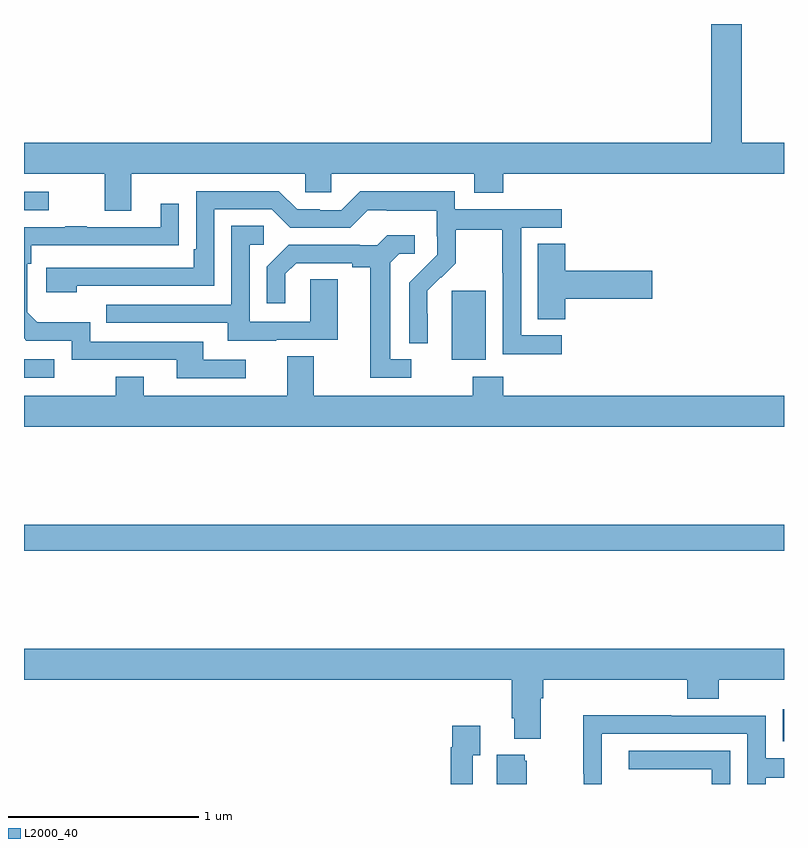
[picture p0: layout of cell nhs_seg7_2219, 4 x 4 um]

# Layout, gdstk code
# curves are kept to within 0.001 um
import gdstk
lib = gdstk.Library(unit=1e-6, precision=1e-09)
def R(c, l, rs):  # rectangles x0, y0, x1, y1
    for r in rs: c.add(gdstk.rectangle(r[:2], r[2:], *l))
def P(c, l, *ps):  # polygons
    for p in ps: c.add(gdstk.Polygon(p, *l))
L2000_40 = (2000, 40)

nhs_seg7_2219 = lib.new_cell('nhs_seg7_2219')
R(nhs_seg7_2219, L2000_40, [(258.993,1068.225,259,1068.394), (255,1069.228,259,1069.364), (255,1070.139,255.16,1070.235), (257.252,1070.234,257.431,1070.595), (255,1071.021,255.13,1071.117)])
P(nhs_seg7_2219, L2000_40, [(255.565,1071.212),(256.479,1071.212),(256.479,1071.114),(256.617,1071.114),(256.617,1071.212),(257.369,1071.212),(257.369,1071.113),(257.522,1071.113),(257.522,1071.212),(259,1071.212),(259,1071.376),(258.777,1071.376),(258.777,1072),(258.617,1072),(258.617,1071.376),(255,1071.376),(255,1071.212),(255.425,1071.212),(255.425,1071.018),(255.565,1071.018)],
  [(257.83,1070.361),(257.616,1070.361),(257.616,1070.928),(257.83,1070.928),(257.83,1071.024),(257.268,1071.024),(257.268,1071.121),(256.771,1071.121),(256.671,1071.021),(256.556,1071.021),(256.556,1071.024),(256.437,1071.024),(256.341,1071.12),(255.906,1071.12),(255.906,1070.815),(255.893,1070.815),(255.893,1070.718),(255.117,1070.718),(255.117,1070.588),(255.278,1070.588),(255.278,1070.622),(256.002,1070.622),(256.002,1071.024),(256.305,1071.024),(256.401,1070.928),(256.716,1070.928),(256.809,1071.021),(256.909,1071.021),(256.909,1071.017),(257.172,1071.017),(257.172,1070.883),(257.174,1070.883),(257.174,1070.786),(257.028,1070.638),(257.028,1070.32),(257.124,1070.32),(257.123,1070.597),(257.193,1070.667),(257.196,1070.664),(257.273,1070.741),(257.273,1070.916),(257.517,1070.916),(257.517,1070.692),(257.52,1070.692),(257.52,1070.263),(257.83,1070.263)],
  [(256.168,1070.232),(255.943,1070.232),(255.943,1070.328),(255.348,1070.328),(255.348,1070.431),(255.071,1070.431),(255.018,1070.484),(255.018,1070.738),(255.038,1070.738),(255.038,1070.835),(255.815,1070.836),(255.815,1071.055),(255.719,1071.055),(255.719,1070.931),(255.329,1070.931),(255.329,1070.936),(255.217,1070.936),(255.217,1070.931),(255,1070.931),(255,1070.346),(255.012,1070.334),(255.252,1070.334),(255.252,1070.232),(255.803,1070.232),(255.803,1070.136),(256.168,1070.136)],
  [(256.327,1070.337),(256.651,1070.337),(256.651,1070.657),(256.506,1070.657),(256.506,1070.433),(256.188,1070.433),(256.188,1070.838),(256.261,1070.838),(256.261,1070.939),(256.092,1070.939),(256.092,1070.523),(255.433,1070.523),(255.433,1070.427),(256.073,1070.427),(256.073,1070.333),(256.327,1070.333)],
  [(257.038,1070.235),(256.927,1070.235),(256.927,1070.743),(256.974,1070.79),(257.056,1070.79),(257.056,1070.887),(256.912,1070.887),(256.86,1070.835),(256.766,1070.835),(256.766,1070.838),(256.394,1070.838),(256.278,1070.722),(256.278,1070.529),(256.375,1070.529),(256.375,1070.685),(256.432,1070.742),(256.727,1070.742),(256.727,1070.72),(256.823,1070.72),(256.823,1070.139),(257.038,1070.139)],
  [(257.849,1070.555),(258.307,1070.555),(258.307,1070.702),(257.849,1070.702),(257.849,1070.843),(257.705,1070.843),(257.705,1070.446),(257.849,1070.446)],
  [(259,1070.044),(257.522,1070.044),(257.522,1070.143),(257.362,1070.143),(257.362,1070.044),(256.525,1070.044),(256.525,1070.252),(256.385,1070.252),(256.385,1070.044),(255.631,1070.044),(255.631,1070.143),(255.484,1070.143),(255.484,1070.044),(255,1070.044),(255,1069.88),(259,1069.88)],
  [(257.719,1068.452),(257.732,1068.452),(257.732,1068.548),(258.491,1068.548),(258.491,1068.449),(258.656,1068.449),(258.656,1068.548),(259,1068.548),(259,1068.712),(255,1068.712),(255,1068.548),(257.567,1068.548),(257.567,1068.346),(257.579,1068.346),(257.579,1068.239),(257.719,1068.239)],
  [(258.042,1068.264),(258.807,1068.264),(258.807,1068),(258.903,1068),(258.903,1068.034),(259,1068.034),(259,1068.135),(258.903,1068.135),(258.903,1068.36),(258.407,1068.36),(258.407,1068.362),(257.944,1068.362),(257.944,1068.055),(257.946,1068.055),(257.946,1068),(258.042,1068)],
  [(257.361,1068.151),(257.401,1068.151),(257.401,1068.307),(257.253,1068.307),(257.253,1068.194),(257.245,1068.194),(257.245,1068),(257.361,1068)],
  [(258.717,1068.174),(258.183,1068.174),(258.183,1068.078),(258.621,1068.078),(258.621,1068),(258.717,1068)],
  [(257.647,1068.123),(257.636,1068.123),(257.636,1068.154),(257.489,1068.154),(257.489,1068),(257.647,1068)])

lib.write_gds('nhs_seg7_2219.gds')
